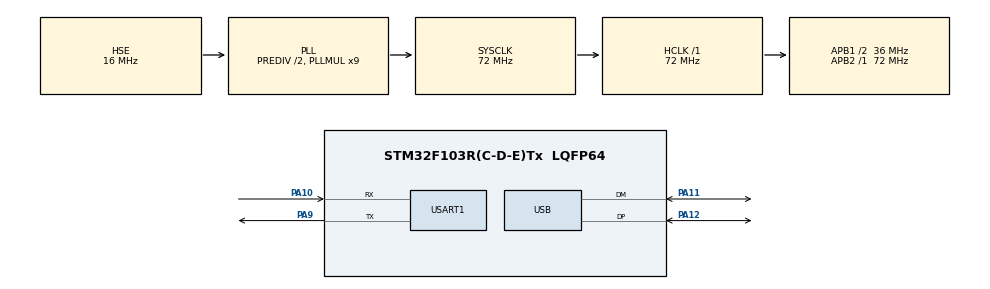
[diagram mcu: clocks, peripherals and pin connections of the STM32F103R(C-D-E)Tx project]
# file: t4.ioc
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Mcu.Family=STM32F1
Mcu.Name=STM32F103R(C-D-E)Tx
Mcu.Package=LQFP64
NVIC.PriorityGroup=NVIC_PRIORITYGROUP_4
NVIC.USB_LP_CAN1_RX0_IRQn=true\:0\:0\:false\:false\:true\:false
PA10.Mode=Asynchronous
PA10.Signal=USART1_RX
PA11.Mode=Device
PA11.Signal=USB_DM
PA12.Mode=Device
PA12.Signal=USB_DP
PA9.Mode=Asynchronous
PA9.Signal=USART1_TX
PD0-OSC_IN.Mode=HSE-External-Oscillator
PD0-OSC_IN.Signal=RCC_OSC_IN
PD1-OSC_OUT.Mode=HSE-External-Oscillator
PD1-OSC_OUT.Signal=RCC_OSC_OUT
ProjectManager.HeapSize=0xc00
ProjectManager.StackSize=0xc00
ProjectManager.TargetToolchain=MDK-ARM V5
RCC.ADCPresc=RCC_ADCPCLK2_DIV4
RCC.AHBFreq_Value=72000000
RCC.APB1CLKDivider=RCC_HCLK_DIV2
RCC.APB1Freq_Value=36000000
RCC.APB1TimFreq_Value=72000000
RCC.APB2Freq_Value=72000000
RCC.APB2TimFreq_Value=72000000
RCC.HCLKFreq_Value=72000000
RCC.HSEDivPLL=RCC_HSE_PREDIV_DIV2
RCC.HSE_VALUE=16000000
RCC.PLLMUL=RCC_PLL_MUL9
RCC.SYSCLKFreq_VALUE=72000000
RCC.SYSCLKSource=RCC_SYSCLKSOURCE_PLLCLK
RCC.USBFreq_Value=48000000
RCC.USBPrescaler=RCC_USBCLKSOURCE_PLL_DIV1_5
USART1.VirtualMode=VM_ASYNC
USB_DEVICE.CLASS_NAME_FS=DFU
USB_DEVICE.VirtualMode=Dfu
USB_DEVICE.VirtualModeFS=Dfu_FS
VP_SYS_VS_ND.Mode=No_Debug
VP_USB_DEVICE_VS_USB_DEVICE_DFU_FS.Mode=DFU_FS
board=t4

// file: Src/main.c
/**
  ******************************************************************************
  * File Name          : main.c
  * Description        : Main program body
  ******************************************************************************
  * This notice applies to any and all portions of this file
  * that are not between comment pairs USER CODE BEGIN and
  * USER CODE END. Other portions of this file, whether
  * inserted by the user or by software development tools
  * are owned by their respective copyright owners.
  *
  * Copyright (c) 2017 STMicroelectronics International N.V.
  * All rights reserved.
  *
  * Redistribution and use in source and binary forms, with or without
  * modification, are permitted, provided that the following conditions are met:
  *
  * 1. Redistribution of source code must retain the above copyright notice,
  *    this list of conditions and the following disclaimer.
  * 2. Redistributions in binary form must reproduce the above copyright notice,
  *    this list of conditions and the following disclaimer in the documentation
  *    and/or other materials provided with the distribution.
  * 3. Neither the name of STMicroelectronics nor the names of other
  *    contributors to this software may be used to endorse or promote products
  *    derived from this software without specific written permission.
  * 4. This software, including modifications and/or derivative works of this
  *    software, must execute solely and exclusively on microcontroller or
  *    microprocessor devices manufactured by or for STMicroelectronics.
  * 5. Redistribution and use of this software other than as permitted under
  *    this license is void and will automatically terminate your rights under
  *    this license.
  *
  * THIS SOFTWARE IS PROVIDED BY STMICROELECTRONICS AND CONTRIBUTORS "AS IS"
  * AND ANY EXPRESS, IMPLIED OR STATUTORY WARRANTIES, INCLUDING, BUT NOT
  * LIMITED TO, THE IMPLIED WARRANTIES OF MERCHANTABILITY, FITNESS FOR A
  * PARTICULAR PURPOSE AND NON-INFRINGEMENT OF THIRD PARTY INTELLECTUAL PROPERTY
  * RIGHTS ARE DISCLAIMED TO THE FULLEST EXTENT PERMITTED BY LAW. IN NO EVENT
  * SHALL STMICROELECTRONICS OR CONTRIBUTORS BE LIABLE FOR ANY DIRECT, INDIRECT,
  * INCIDENTAL, SPECIAL, EXEMPLARY, OR CONSEQUENTIAL DAMAGES (INCLUDING, BUT NOT
  * LIMITED TO, PROCUREMENT OF SUBSTITUTE GOODS OR SERVICES; LOSS OF USE, DATA,
  * OR PROFITS; OR BUSINESS INTERRUPTION) HOWEVER CAUSED AND ON ANY THEORY OF
  * LIABILITY, WHETHER IN CONTRACT, STRICT LIABILITY, OR TORT (INCLUDING
  * NEGLIGENCE OR OTHERWISE) ARISING IN ANY WAY OUT OF THE USE OF THIS SOFTWARE,
  * EVEN IF ADVISED OF THE POSSIBILITY OF SUCH DAMAGE.
  *
  ******************************************************************************
  */
#include "main.h"
#include "stm32f1xx_hal.h"
#include "usb_device.h"

/* USER CODE BEGIN Includes */
typedef  void (*pFunction)(void);

//预留flash的最后一页用作配置空间
typedef struct
{
    uint32_t   bootflag;
}user_cfg;
/* USER CODE END Includes */

UART_HandleTypeDef huart1;
user_cfg           g_usercfg;

/* USER CODE BEGIN PV */
/* Private variables ---------------------------------------------------------*/

/* USER CODE END PV */

void SystemClock_Config(void);
static void MX_GPIO_Init(void);
static void MX_USART1_UART_Init(void);

/* USER CODE BEGIN PFP */
/* Private function prototypes -----------------------------------------------*/

/* USER CODE END PFP */

/* USER CODE BEGIN 0 */
void readusercfg(uint8_t *pdata, uint32_t len)
{
  uint32_t i = 0;
  uint32_t flashsize = *((uint16_t *)FLASH_SIZE_DATA_REGISTER) * 1024;

  uint8_t *psrc = (uint8_t *)(FLASH_ADDRESS_START + flashsize - FLASH_PAGE_SIZE);

  for (i = 0; i < len; i++)
  {
    pdata[i] = *psrc++;
  }
}

void writeusercfg(uint8_t *pdata, uint32_t len)
{
  HAL_StatusTypeDef      status;
  FLASH_EraseInitTypeDef eraseinitstruct;
  uint32_t               page_error = 0;
  uint32_t               i = 0;

  uint32_t flashsize = *((uint16_t *)FLASH_SIZE_DATA_REGISTER) * 1024;
  uint32_t addr = FLASH_ADDRESS_START + flashsize - FLASH_PAGE_SIZE;

  HAL_FLASH_Unlock();

  eraseinitstruct.TypeErase = FLASH_TYPEERASE_PAGES;
  eraseinitstruct.PageAddress = addr;
  eraseinitstruct.NbPages = 1;
  status = HAL_FLASHEx_Erase(&eraseinitstruct, &page_error);
  if (status != HAL_OK)
  {
    printf("!! erase usercfg fail!! \r\n");
    HAL_FLASH_Lock();
    return;
  }

  for (i = 0; i < len; i += 4)
  {
    /* Device voltage range supposed to be [2.7V to 3.6V], the operation will
     * be done by byte */
    if (HAL_FLASH_Program (FLASH_TYPEPROGRAM_WORD, (uint32_t) (addr + i), *(uint32_t *) (pdata + i)) == HAL_OK)
    {
      /* Check the written value */
      if (*(uint32_t *) (pdata + i) != *(uint32_t *) (addr + i))
      {
        printf("!! check usercfg fail!! \r\n");
        HAL_FLASH_Lock();
        return;
      }
    }
    else
    {
      printf("!! write usercfg fail!! \r\n");
      HAL_FLASH_Lock();
      return;
    }
  }

  HAL_FLASH_Lock();
}

void set_bootfrom_app()
{
    g_usercfg.bootflag = 0xdefa1234;
    writeusercfg((uint8_t *)&g_usercfg, sizeof(g_usercfg));
}

/* USER CODE END 0 */

int main(void)
{

  /* MCU Configuration----------------------------------------------------------*/

  /* Reset of all peripherals, Initializes the Flash interface and the Systick. */
  HAL_Init();

  /* Configure the system clock */
  SystemClock_Config();

  readusercfg((uint8_t *)&g_usercfg, sizeof(g_usercfg));
  if (0xdefa1234 == g_usercfg.bootflag)
  {
      uint32_t JumpAddress = *(__IO uint32_t*) (USBD_DFU_APP_DEFAULT_ADD + 4);
      pFunction JumpToApplication = (pFunction)JumpAddress;
      __set_MSP(*(__IO uint32_t *) USBD_DFU_APP_DEFAULT_ADD);
      JumpToApplication();
  }
  else if (0xFFFFFFFF != g_usercfg.bootflag)
  {
        g_usercfg.bootflag = 0xFFFFFFFF;
        writeusercfg((uint8_t *)&g_usercfg, sizeof(g_usercfg));
  }

  /* USER CODE END SysInit */

  /* Initialize all configured peripherals */
  MX_GPIO_Init();
  MX_USART1_UART_Init();
  MX_USB_DEVICE_Init();

  printf("Now is running in dfu mode!\r\n");
  printf("You can use DfuseDemo to upgrade\r\n");

  /* Infinite loop */
  while (1)
  {

  }

}

/** System Clock Configuration
*/
void SystemClock_Config(void)
{

  RCC_OscInitTypeDef RCC_OscInitStruct;
  RCC_ClkInitTypeDef RCC_ClkInitStruct;
  RCC_PeriphCLKInitTypeDef PeriphClkInit;

    /**Initializes the CPU, AHB and APB busses clocks
    */
  RCC_OscInitStruct.OscillatorType = RCC_OSCILLATORTYPE_HSE;
  RCC_OscInitStruct.HSEState = RCC_HSE_ON;
  RCC_OscInitStruct.HSEPredivValue = RCC_HSE_PREDIV_DIV2;
  RCC_OscInitStruct.HSIState = RCC_HSI_ON;
  RCC_OscInitStruct.PLL.PLLState = RCC_PLL_ON;
  RCC_OscInitStruct.PLL.PLLSource = RCC_PLLSOURCE_HSE;
  RCC_OscInitStruct.PLL.PLLMUL = RCC_PLL_MUL9;
  if (HAL_RCC_OscConfig(&RCC_OscInitStruct) != HAL_OK)
  {
    _Error_Handler(__FILE__, __LINE__);
  }

    /**Initializes the CPU, AHB and APB busses clocks
    */
  RCC_ClkInitStruct.ClockType = RCC_CLOCKTYPE_HCLK|RCC_CLOCKTYPE_SYSCLK
                              |RCC_CLOCKTYPE_PCLK1|RCC_CLOCKTYPE_PCLK2;
  RCC_ClkInitStruct.SYSCLKSource = RCC_SYSCLKSOURCE_PLLCLK;
  RCC_ClkInitStruct.AHBCLKDivider = RCC_SYSCLK_DIV1;
  RCC_ClkInitStruct.APB1CLKDivider = RCC_HCLK_DIV2;
  RCC_ClkInitStruct.APB2CLKDivider = RCC_HCLK_DIV1;

  if (HAL_RCC_ClockConfig(&RCC_ClkInitStruct, FLASH_LATENCY_2) != HAL_OK)
  {
    _Error_Handler(__FILE__, __LINE__);
  }

  PeriphClkInit.PeriphClockSelection = RCC_PERIPHCLK_USB;
  PeriphClkInit.UsbClockSelection = RCC_USBCLKSOURCE_PLL_DIV1_5;
  if (HAL_RCCEx_PeriphCLKConfig(&PeriphClkInit) != HAL_OK)
  {
    _Error_Handler(__FILE__, __LINE__);
  }

    /**Configure the Systick interrupt time
    */
  HAL_SYSTICK_Config(HAL_RCC_GetHCLKFreq()/1000);

    /**Configure the Systick
    */
  HAL_SYSTICK_CLKSourceConfig(SYSTICK_CLKSOURCE_HCLK);

  /* SysTick_IRQn interrupt configuration */
  HAL_NVIC_SetPriority(SysTick_IRQn, 0, 0);
}

/* USART1 init function */
static void MX_USART1_UART_Init(void)
{

  huart1.Instance = USART1;
  huart1.Init.BaudRate = 115200;
  huart1.Init.WordLength = UART_WORDLENGTH_8B;
  huart1.Init.StopBits = UART_STOPBITS_1;
  huart1.Init.Parity = UART_PARITY_NONE;
  huart1.Init.Mode = UART_MODE_TX_RX;
  huart1.Init.HwFlowCtl = UART_HWCONTROL_NONE;
  huart1.Init.OverSampling = UART_OVERSAMPLING_16;
  if (HAL_UART_Init(&huart1) != HAL_OK)
  {
    _Error_Handler(__FILE__, __LINE__);
  }

}

/** Configure pins as
        * Analog
        * Input
        * Output
        * EVENT_OUT
        * EXTI
*/
static void MX_GPIO_Init(void)
{

  /* GPIO Ports Clock Enable */
  __HAL_RCC_GPIOD_CLK_ENABLE();
  __HAL_RCC_GPIOA_CLK_ENABLE();

}

void _Error_Handler(char * file, int line)
{
  while(1)
  {
  }
}

int fputc(int ch, FILE *f)
{
  /* Place your implementation of fputc here */
  /* e.g. write a character to the USART1 and Loop until the end of transmission */
  HAL_UART_Transmit(&huart1, (uint8_t *)&ch, 1, 0xFFFF);
  //HAL_UART_Transmit_DMA(&huart1, (uint8_t *)&ch, 1);

  return ch;
}

/************************ (C) COPYRIGHT STMicroelectronics *****END OF FILE****/
